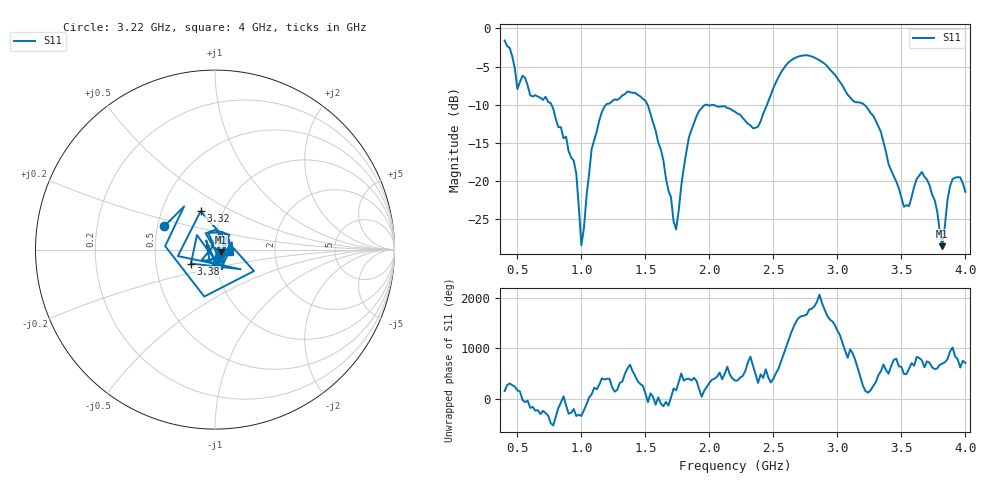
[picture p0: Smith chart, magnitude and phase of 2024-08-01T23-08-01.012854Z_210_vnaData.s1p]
!Created with skrf (http://scikit-rf.org).
# Hz S RI R 50.0
!freq ReS11 ImS11
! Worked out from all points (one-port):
!   181 points, 400 MHz to 4 GHz, reference 50 ohm
!   lowest |S11| = -28.5 dB at 3.82 GHz (marker M1), VSWR 1.08, Z = 53.6 - j1.5 ohm
!   |S11| at or under -10 dB: 1.517 GHz to 1.975 GHz (458.2 MHz wide, 26.2 % of centre); 1.983 GHz to 2.45 GHz (466.5 MHz wide, 21 % of centre); 3.21 GHz to end of sweep (the widest 3 of 4)
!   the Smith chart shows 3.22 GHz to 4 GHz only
!   S11 on the Smith chart (normalised r, x): 3.22 GHz: 0.54, +0.16; 3.32 GHz: 0.78, +0.35; 3.38 GHz: 0.76, -0.12; 4 GHz: 1.18, -0.03
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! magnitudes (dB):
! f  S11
! 400 MHz  -1.6
! 500 MHz  -7.9
! 720 MHz  -9.0
! 860 MHz  -14.4
! 960 MHz  -19.0
! 1 GHz  -28.4
! 1.08 GHz  -15.8
! 1.18 GHz  -10.2
! 1.3 GHz  -9.1
! 1.52 GHz  -10.1
! 1.72 GHz  -25.2
! 1.76 GHz  -23.9
! 1.84 GHz  -14.3
! 1.92 GHz  -10.8
! 2.2 GHz  -10.9
! 2.38 GHz  -12.9
! 2.66 GHz  -3.9
! 2.9 GHz  -4.6
! 3.1 GHz  -9.0
! 3.22 GHz  -10.1
! 3.32 GHz  -12.8
! 3.38 GHz  -16.2
! 3.56 GHz  -23.2
! 3.66 GHz  -18.8
! 3.76 GHz  -22.5
! 3.82 GHz  -28.5
! 3.9 GHz  -19.7
! 4 GHz  -21.4
